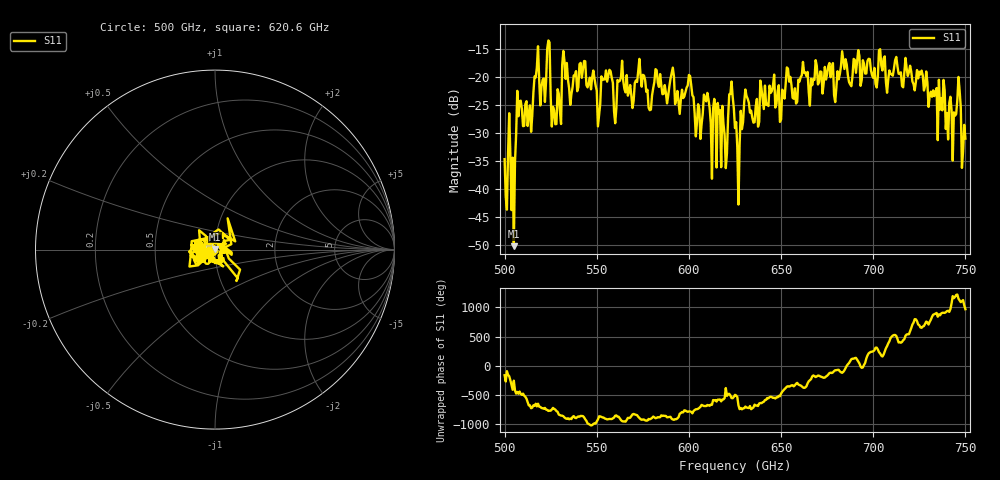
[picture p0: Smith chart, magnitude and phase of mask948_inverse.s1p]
!Created with skrf (http://scikit-rf.org).
# GHz S MA R 50.0
!freq magS11 angS11
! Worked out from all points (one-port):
!   401 points, 500 GHz to 750 GHz, reference 50 ohm
!   lowest |S11| = -50.2 dB at 505 GHz (marker M1), VSWR 1.01, Z = 49.9 + j0.301 ohm
!   |S11| at or under -10 dB: start of sweep to end of sweep
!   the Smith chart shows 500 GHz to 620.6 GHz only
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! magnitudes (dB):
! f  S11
! 500 GHz  -34.6
! 505 GHz  -50.2
! 508.1 GHz  -24.3
! 513.8 GHz  -25.1
! 516.9 GHz  -20.1
! 520.6 GHz  -20.5
! 523.8 GHz  -13.5
! 526.9 GHz  -25.9
! 531.2 GHz  -17.8
! 542.5 GHz  -18.7
! 550.6 GHz  -28.8
! 562.5 GHz  -20.7
! 590.6 GHz  -19.3
! 593.8 GHz  -22.5
! 600 GHz  -19.6
! 605 GHz  -24.9
! 609.4 GHz  -24.3
! 618.8 GHz  -28.4
! 623.1 GHz  -20.8
! 625 GHz  -29.1
! 626.2 GHz  -32.5
! 631.2 GHz  -23.4
! 656.2 GHz  -23.7
! 687.5 GHz  -21.3
! 718.8 GHz  -19.8
! 741.9 GHz  -23.5
! 746.2 GHz  -20.0
! 750 GHz  -31.0
